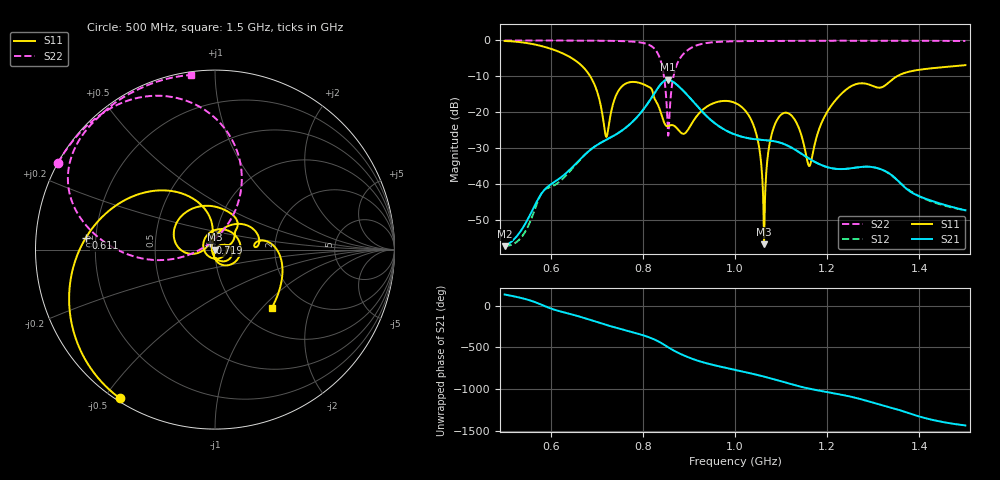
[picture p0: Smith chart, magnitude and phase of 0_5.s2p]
! TOUCHSTONE file generated by CST MICROWAVE STUDIO
! Date and time: Mon Sep 28 14:06:15 2020
! Project name: Scenario_1_Free_SPace.cst
! Parameters = {dx1=242.5; L_HA=400; MT=2.54; Rad_Dielectric=30; Rad_Lower=7.3; Rad_Upper=30; a_HA=580; a_WG=246; b_HA=500; b_WG=121; c_HA=0; c_WG=187; d_feed=85; h_feed=15; h_lower=18; h_upper=40}
! Header version: 2018
! Port assignment regex: !\s*Touchstone port\s*([0-9]+)\s*=\s*(CST MWS port|CST DS port)\s*([0-9]+|Zmin|Zmax)\s*\(\"(.*)\"\)(\s*mode\s*([0-9]+))?.*
! Touchstone port assignment:
! Touchstone port 1 = CST MWS port 1 ("")
! Touchstone port 2 = CST MWS port 2 ("")
# GHz S DB R 50
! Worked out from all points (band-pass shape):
!   1003 points, 500 MHz to 1.5 GHz, reference 50 ohm
!   highest |S21| = -10.96 dB at 854 MHz (marker M1); lowest = -57.3 dB at 500 MHz (marker M2)
!   |S21| within 3 dB of the highest: 829 MHz to 887.3 MHz (58.26 MHz wide, 6.79 % of centre)
!   lowest |S11| = -56.8 dB at 1.063 GHz (marker M3), VSWR 1.00, Z = 50.1 - j0.102 ohm
!   |S11| at or under -10 dB: 685.9 MHz to 1.351 GHz (665.5 MHz wide, 65.3 % of centre)
!   |S22| runs from -26.6 to 0.0 dB; largest |S21 - S12| = 0.0015
!   S11 on the Smith chart (normalised r, x): 500 MHz: 0.01, -0.55; 611 MHz: 0.16, +0.04; 719 MHz: 0.94, +0.07; 1.5 GHz: 1.39, -1.13
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0.5  -0.15 -122.6  -57.33 134.4  -57.31 134.4  -0.01 151.1
0.611  -2.81 175.0  -39.19 -52.7  -40.13 -58.0  -0.02 143.2
0.667  -7.00 132.4  -32.74 -137.6  -32.79 -137.5  -0.04 138.3
0.698  -13.25 102.4  -29.37 168.2  -29.33 167.9  -0.07 135.0
0.719  -26.32 127.8  -27.80 132.0  -27.79 131.8  -0.10 132.4
0.764  -11.95 154.4  -24.21 62.6  -24.21 62.6  -0.23 124.5
0.834  -18.32 29.5  -13.02 -69.5  -13.02 -69.5  -4.04 81.8
0.854  -23.88 19.2  -10.96 -135.6  -10.96 -135.6  -24.04 87.1
0.868  -23.80 -11.6  -11.74 179.0  -11.74 179.0  -9.11 -170.6
0.889  -26.01 -114.5  -14.19 123.0  -14.19 123.0  -3.63 173.7
1  -17.39 -25.8  -26.22 -50.5  -26.23 -50.5  -0.23 140.2
1.043  -24.65 -85.7  -27.52 -103.9  -27.52 -104.0  -0.17 134.9
1.063  -56.85 -44.8  -27.76 -131.3  -27.76 -131.3  -0.16 132.9
1.078  -26.97 36.7  -27.96 -153.5  -27.95 -153.4  -0.15 131.5
1.101  -20.58 -3.5  -28.61 170.2  -28.61 170.2  -0.14 129.5
1.127  -21.59 -51.5  -30.18 129.4  -30.18 129.4  -0.11 127.4
1.159  -34.59 -153.1  -32.78 86.2  -32.79 86.2  -0.09 124.8
1.167  -32.57 140.8  -33.39 76.9  -33.40 76.9  -0.09 124.1
1.191  -22.08 85.7  -34.90 51.3  -34.91 51.3  -0.09 122.2
1.231  -14.86 51.8  -35.85 10.8  -35.85 10.8  -0.08 119.1
1.334  -11.67 11.2  -36.99 -139.0  -37.05 -139.4  -0.08 111.4
1.5  -6.89 -45.5  -47.34 1.7  -47.34 1.9  -0.16 97.9
